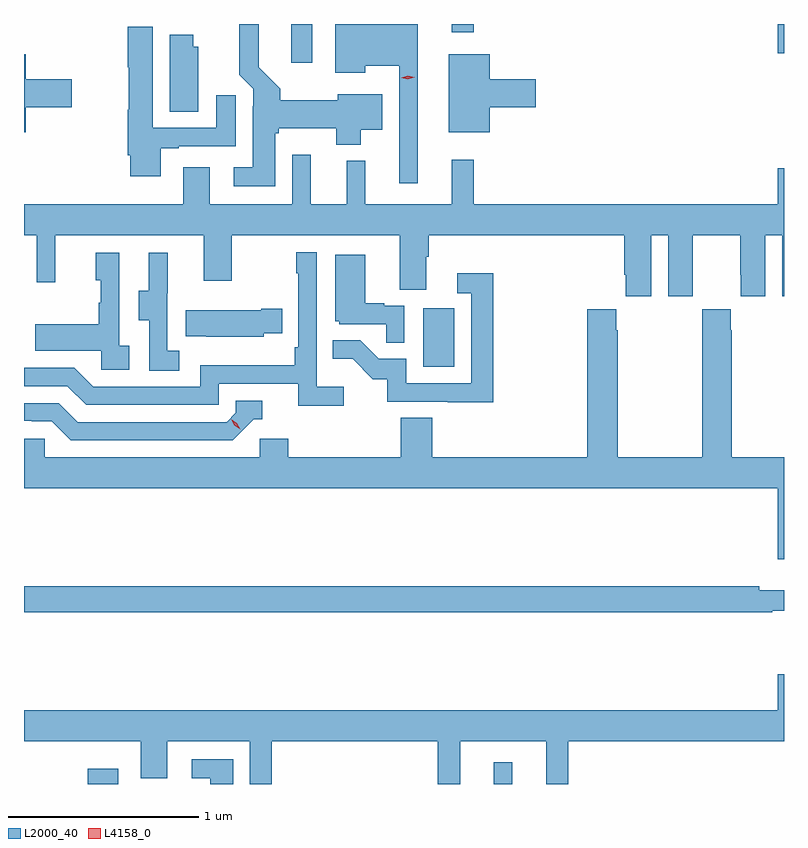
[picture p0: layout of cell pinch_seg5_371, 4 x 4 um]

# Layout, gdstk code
import gdstk
lib = gdstk.Library(unit=1e-6, precision=1e-09)
def R(c, l, rs):  # rectangles x0, y0, x1, y1
    for r in rs: c.add(gdstk.rectangle(r[:2], r[2:], *l))
def P(c, l, *ps):  # polygons
    for p in ps: c.add(gdstk.Polygon(p, *l))
L2000_40 = (2000, 40)
L4158_0 = (4158, 0)

pinch_seg5_371 = lib.new_cell('pinch_seg5_371')
R(pinch_seg5_371, L2000_40, [(988.55,877.848,988.711,877.927), (990.686,877.848,990.783,877.963), (990.314,880.044,990.478,880.351), (989.621,881.643,989.731,881.848), (992.18,881.694,992.214,881.848), (990.464,881.805,990.581,881.848)])
P(pinch_seg5_371, L2000_40, [(989.536,881.274),(989.554,881.274),(989.554,881.3),(989.857,881.3),(989.857,881.213),(989.986,881.213),(989.986,881.291),(990.1,881.291),(990.1,881.479),(989.864,881.479),(989.864,881.446),(989.562,881.446),(989.562,881.507),(989.449,881.62),(989.449,881.848),(989.347,881.848),(989.347,881.582),(989.421,881.508),(989.421,881.414),(989.417,881.414),(989.417,881.095),(989.319,881.095),(989.319,880.994),(989.536,880.994)],
  [(990.286,881.848),(989.852,881.848),(989.852,881.591),(990.01,881.591),(990.01,881.627),(990.189,881.627),(990.189,881.01),(990.286,881.01)],
  [(988.933,881.193),(989.029,881.193),(989.029,881.205),(989.329,881.205),(989.329,881.473),(989.225,881.473),(989.225,881.301),(988.891,881.301),(988.891,881.833),(988.76,881.833),(988.76,881.62),(988.765,881.62),(988.765,881.398),(988.76,881.398),(988.76,881.158),(988.772,881.158),(988.772,881.046),(988.933,881.046)],
  [(989.131,881.727),(989.104,881.727),(989.104,881.791),(988.982,881.791),(988.982,881.386),(989.131,881.386)],
  [(988.222,881.411),(988.465,881.411),(988.465,881.558),(988.222,881.558),(988.222,881.689),(988.214,881.689),(988.214,881.279),(988.222,881.279)],
  [(990.664,881.411),(990.907,881.411),(990.907,881.558),(990.664,881.558),(990.664,881.689),(990.449,881.689),(990.449,881.279),(990.664,881.279)],
  [(991.516,880.736),(991.604,880.736),(991.604,880.416),(991.734,880.416),(991.734,880.528),(991.735,880.528),(991.735,880.736),(991.985,880.736),(991.985,880.528),(991.986,880.528),(991.986,880.416),(992.116,880.416),(992.116,880.736),(992.204,880.736),(992.204,880.416),(992.214,880.416),(992.214,881.089),(992.18,881.089),(992.18,880.9),(990.581,880.9),(990.581,881.134),(990.464,881.134),(990.464,880.9),(990.011,880.9),(990.011,881.128),(989.912,881.128),(989.912,880.9),(989.723,880.9),(989.723,881.161),(989.625,881.161),(989.625,880.9),(989.191,880.9),(989.191,881.095),(989.051,881.095),(989.051,880.9),(988.214,880.9),(988.214,880.736),(988.281,880.736),(988.281,880.488),(988.379,880.488),(988.379,880.736),(989.159,880.736),(989.159,880.497),(989.307,880.497),(989.307,880.736),(990.191,880.736),(990.191,880.45),(990.331,880.45),(990.331,880.624),(990.344,880.624),(990.344,880.736),(991.373,880.736),(991.373,880.528),(991.382,880.528),(991.382,880.416),(991.516,880.416)],
  [(989.896,879.94),(989.754,879.94),(989.754,880.648),(989.646,880.648),(989.646,880.535),(989.658,880.535),(989.658,880.147),(989.638,880.147),(989.638,880.051),(989.142,880.051),(989.142,879.939),(988.578,879.939),(988.479,880.038),(988.214,880.038),(988.214,879.942),(988.442,879.942),(988.541,879.843),(989.238,879.843),(989.238,879.954),(989.657,879.954),(989.657,879.838),(989.896,879.838)],
  [(988.768,880.154),(988.716,880.154),(988.716,880.645),(988.592,880.645),(988.592,880.5),(988.618,880.5),(988.618,880.382),(988.608,880.382),(988.608,880.267),(988.273,880.267),(988.273,880.127),(988.62,880.127),(988.62,880.029),(988.768,880.029)],
  [(989.032,880.127),(988.968,880.127),(988.968,880.431),(988.97,880.431),(988.97,880.645),(988.871,880.645),(988.871,880.443),(988.817,880.443),(988.817,880.288),(988.872,880.288),(988.872,880.024),(989.032,880.024)],
  [(990.216,880.365),(990.11,880.365),(990.11,880.378),(990.01,880.378),(990.01,880.633),(989.852,880.633),(989.852,880.284),(989.874,880.284),(989.874,880.269),(990.121,880.269),(990.121,880.171),(990.216,880.171)],
  [(990.683,880.537),(990.495,880.537),(990.495,880.431),(990.567,880.431),(990.567,879.957),(990.225,879.957),(990.225,880.086),(990.081,880.086),(989.983,880.184),(989.839,880.184),(989.839,880.085),(989.943,880.085),(990.05,879.978),(990.127,879.978),(990.127,879.861),(990.445,879.861),(990.445,879.856),(990.683,879.856)],
  [(989.475,880.22),(989.573,880.22),(989.573,880.35),(989.462,880.35),(989.462,880.342),(989.065,880.342),(989.065,880.205),(989.173,880.205),(989.173,880.202),(989.475,880.202)],
  [(992.214,879.568),(991.938,879.568),(991.938,880.235),(991.935,880.235),(991.935,880.348),(991.785,880.348),(991.785,880.235),(991.783,880.235),(991.783,879.568),(991.338,879.568),(991.338,880.235),(991.331,880.235),(991.331,880.348),(991.178,880.348),(991.178,879.568),(990.362,879.568),(990.362,879.776),(990.197,879.776),(990.197,879.568),(989.606,879.568),(989.606,879.666),(989.454,879.666),(989.454,879.568),(988.323,879.568),(988.323,879.666),(988.214,879.666),(988.214,879.404),(992.18,879.404),(992.18,879.03),(992.214,879.03)],
  [(989.424,879.768),(989.467,879.768),(989.467,879.864),(989.328,879.864),(989.328,879.801),(989.28,879.753),(988.497,879.753),(988.398,879.852),(988.214,879.852),(988.214,879.759),(988.254,879.759),(988.254,879.756),(988.361,879.756),(988.46,879.657),(989.313,879.657)],
  [(992.152,878.76),(992.214,878.76),(992.214,878.869),(992.084,878.869),(992.084,878.888),(988.214,878.888),(988.214,878.752),(992.152,878.752)],
  [(989.519,878.072),(990.391,878.072),(990.391,877.848),(990.509,877.848),(990.509,878.072),(990.962,878.072),(990.962,877.848),(991.079,877.848),(991.079,878.072),(992.214,878.072),(992.214,878.425),(992.18,878.425),(992.18,878.236),(988.214,878.236),(988.214,878.072),(988.829,878.072),(988.829,877.878),(988.969,877.878),(988.969,878.072),(989.403,878.072),(989.403,877.848),(989.519,877.848)],
  [(989.314,877.978),(989.097,877.978),(989.097,877.877),(989.195,877.877),(989.195,877.848),(989.314,877.848)])
P(pinch_seg5_371, L4158_0, [(990.235,881.556),(990.2,881.564),(990.199,881.564),(990.2,881.564),(990.234,881.576),(990.27,881.568),(990.27,881.568),(990.27,881.567)],
  [(989.351,879.714),(989.32,879.735),(989.305,879.768),(989.305,879.768),(989.305,879.768),(989.335,879.748),(989.351,879.715),(989.351,879.714)])

lib.write_gds('pinch_seg5_371.gds')
